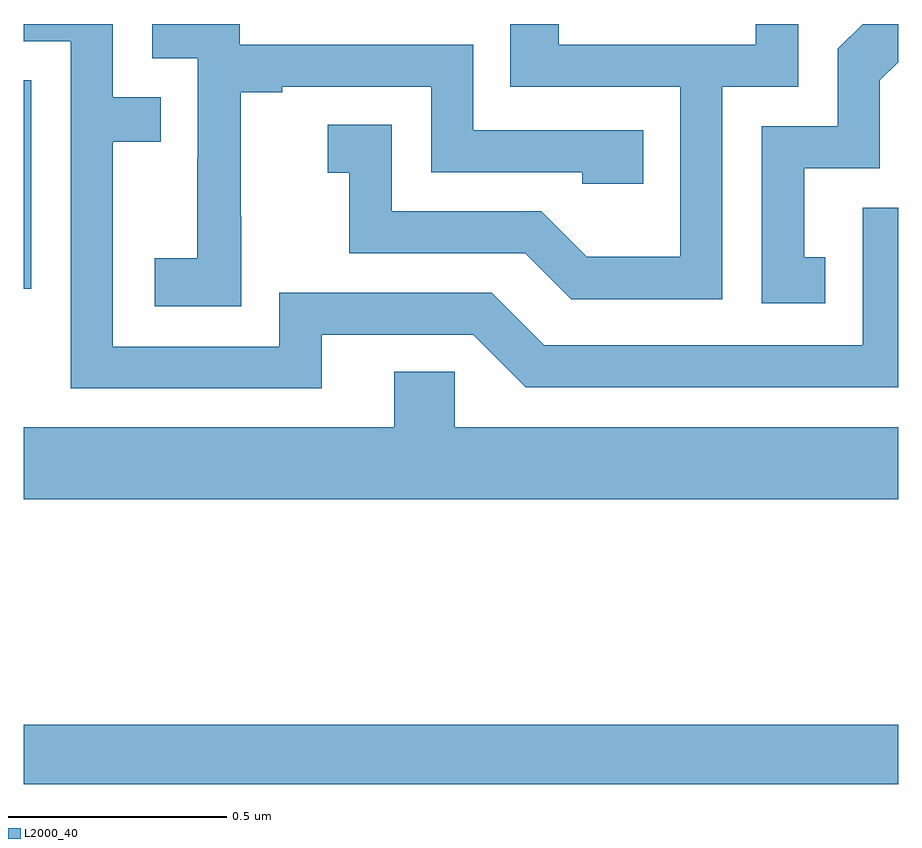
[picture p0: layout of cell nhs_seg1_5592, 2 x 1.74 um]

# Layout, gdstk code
import gdstk
lib = gdstk.Library(unit=1e-6, precision=1e-09)
def R(c, l, rs):  # rectangles x0, y0, x1, y1
    for r in rs: c.add(gdstk.rectangle(r[:2], r[2:], *l))
def P(c, l, *ps):  # polygons
    for p in ps: c.add(gdstk.Polygon(p, *l))
L2000_40 = (2000, 40)

nhs_seg1_5592 = lib.new_cell('nhs_seg1_5592')
R(nhs_seg1_5592, L2000_40, [(181,504.46,183,504.596), (181,505.593,181.017,506.07)])
P(nhs_seg1_5592, L2000_40, [(181.681,505.488),(182.028,505.488),(182.148,505.368),(183,505.368),(183,505.779),(182.919,505.779),(182.919,505.464),(182.19,505.464),(182.07,505.584),(181.584,505.584),(181.584,505.461),(181.203,505.461),(181.203,505.93),(181.313,505.93),(181.313,506.031),(181.203,506.031),(181.203,506.199),(181,506.199),(181,506.16),(181.107,506.16),(181.107,505.365),(181.681,505.365)],
  [(182.598,506.055),(182.772,506.055),(182.772,506.199),(182.675,506.199),(182.675,506.151),(182.224,506.151),(182.224,506.199),(182.113,506.199),(182.113,506.055),(182.502,506.055),(182.502,505.666),(182.288,505.666),(182.184,505.77),(181.842,505.77),(181.842,505.969),(181.695,505.969),(181.695,505.859),(181.744,505.859),(181.744,505.674),(182.147,505.674),(182.252,505.569),(182.598,505.569)],
  [(182.834,505.665),(182.785,505.665),(182.785,505.869),(182.958,505.869),(182.958,506.07),(183,506.112),(183,506.199),(182.919,506.199),(182.862,506.142),(182.862,505.965),(182.688,505.965),(182.688,505.56),(182.834,505.56)],
  [(181.497,505.759),(181.496,505.759),(181.496,506.043),(181.591,506.043),(181.591,506.055),(181.932,506.055),(181.932,505.86),(182.277,505.86),(182.277,505.833),(182.417,505.833),(182.417,505.956),(182.028,505.956),(182.028,506.151),(181.494,506.151),(181.494,506.199),(181.293,506.199),(181.293,506.121),(181.398,506.121),(181.398,505.892),(181.397,505.892),(181.397,505.663),(181.299,505.663),(181.299,505.553),(181.497,505.553)],
  [(183,505.276),(181.986,505.276),(181.986,505.403),(181.847,505.403),(181.847,505.276),(181,505.276),(181,505.112),(183,505.112)])

lib.write_gds('nhs_seg1_5592.gds')
